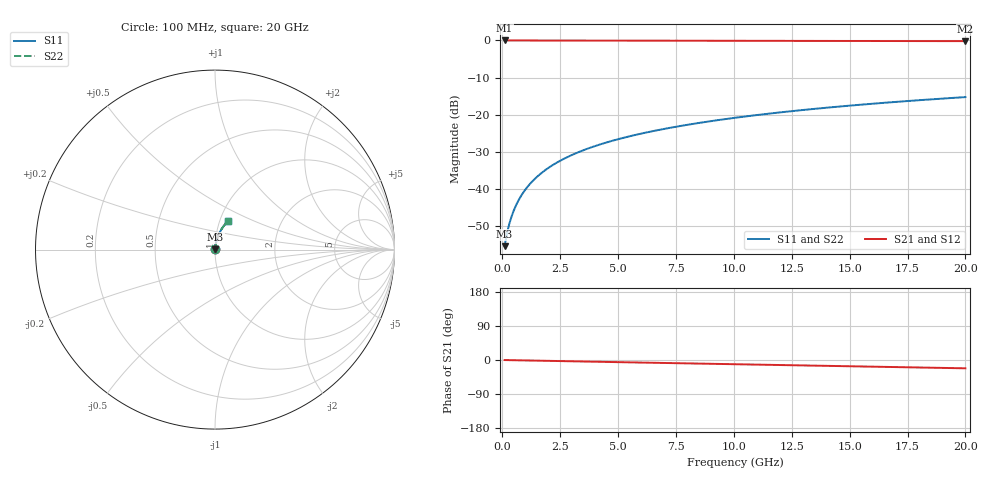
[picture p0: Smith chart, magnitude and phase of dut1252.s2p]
! Touchstone file exported from HFSS 2026.1.0
!  File:  C:/ffzhzh/LocalFiles/Ansys_Project_Files/temp_train_BSMRDL_1252_1783177350_18472.aedt
!  Generated:  11:03:41 PM Jul  4, 2026
!  Design:  BSMRDL
!  Project:  temp_train_BSMRDL_1252_1783177350_18472
! Variables:
!  h_bsmrdl = 5.15um
!  h_ox = 20um
!  h_rdl = 5um
!  h_sub = 80um
!  h_tmrdl = 5um
!  h_tsv = 80um
!  h_via = 3um
!  l_bsmrdl = 329.01um
!  l_sub = 729.01um
!  l_tmrdl = 200um
!  m_sub = 200um
!  pitch = 36.71um
!  r_tsv = 6um
!  s_tmrdl = 10um
!  w_bsmrdl = 19.41um
!  w_sub = 500um
!  w_tmrdl = 12um
!  x_tsv_center1 = 206um
!  x_tsv_center2 = 554.42um
!  x_tsv_center3 = 766.42um
!  x_tsv_center4 = 1114.84um
!  x_tsv_center5 = 1326.84um
!  x_tsv_center6 = 1675.26um
# GHz S MA R 50.000000
! Terminal data exported
! Port[1] = BSM_RDL1_1_T1
! Port[2] = BSM_RDL1_1_T2
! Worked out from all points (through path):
!   200 points, 100 MHz to 20 GHz, reference 50 ohm
!   highest |S21| = -0.01 dB at 100 MHz (marker M1); lowest = -0.2 dB at 20 GHz (marker M2)
!   group delay of S21, straight-line fit = 3.04 ps
!   lowest |S11| = -55.3 dB at 100 MHz (marker M3), VSWR 1.00, Z = 50.1 + j0.109 ohm
!   |S11| at or under -10 dB: start of sweep to end of sweep
!   |S22| runs from -55.3 to -15.2 dB; largest |S21 - S12| = 2.1e-15
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0.1  0.001709 39.4  0.9987 -0.1  0.9987 -0.1  0.001709 39.4
! Gamma 0 0 0 0
! Port Impedance 50 0 50 0
0.2  0.002521 55.8  0.9986 -0.2  0.9986 -0.2  0.002521 55.8
0.3  0.00339 63.9  0.9985 -0.4  0.9985 -0.4  0.003389 63.9
0.4  0.004283 68.8  0.9984 -0.5  0.9984 -0.5  0.004283 68.8
0.5  0.005196 72.1  0.9984 -0.6  0.9984 -0.6  0.005196 72.1
0.6  0.006122 74.4  0.9984 -0.7  0.9984 -0.7  0.006122 74.4
0.8  0.007999 77.4  0.9983 -0.9  0.9983 -0.9  0.007999 77.4
1.1  0.01084 79.7  0.9982 -1.3  0.9982 -1.3  0.01084 79.7
1.5  0.01465 81.1  0.998 -1.7  0.998 -1.7  0.01465 81.1
1.8  0.01749 81.5  0.9979 -2.1  0.9979 -2.1  0.01749 81.5
2.1  0.02033 81.7  0.9977 -2.4  0.9977 -2.4  0.02033 81.7
2.7  0.02594 81.7  0.9973 -3.1  0.9973 -3.1  0.02594 81.7
3.5  0.03333 81.3  0.9967 -4.0  0.9967 -4.0  0.03333 81.3
4.2  0.03971 80.8  0.9961 -4.8  0.9961 -4.8  0.03971 80.8
5  0.04691 80.1  0.9955 -5.7  0.9955 -5.7  0.04691 80.1
5.9  0.05493 79.4  0.9947 -6.7  0.9947 -6.7  0.05493 79.4
6.8  0.06287 78.6  0.9939 -7.6  0.9939 -7.6  0.06287 78.6
8.3  0.07598 77.2  0.9925 -9.3  0.9925 -9.3  0.07598 77.2
10.1  0.09151 75.5  0.9906 -11.3  0.9906 -11.3  0.0915 75.5
13.4  0.1194 72.3  0.9869 -14.8  0.9869 -14.8  0.1194 72.3
16.7  0.1466 69.0  0.9826 -18.4  0.9826 -18.4  0.1466 69.0
20  0.1728 65.7  0.9778 -21.9  0.9778 -21.9  0.1728 65.7
